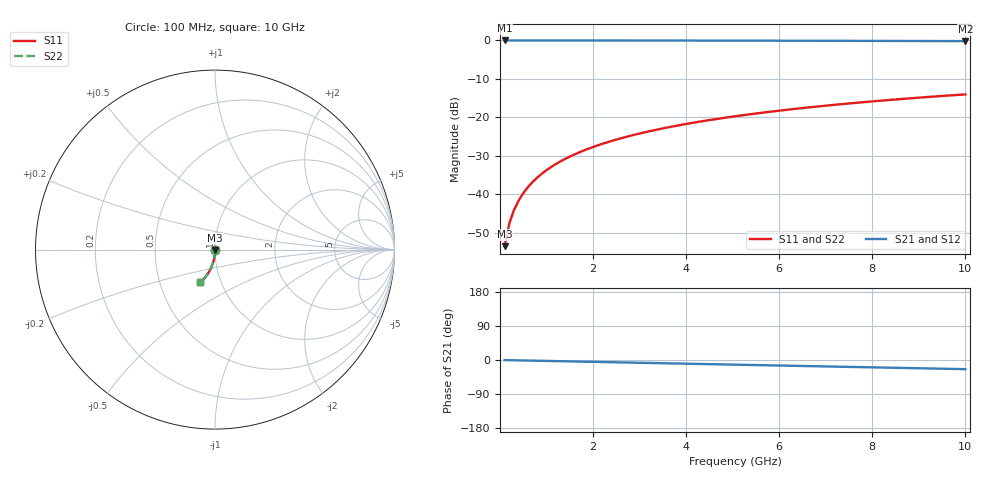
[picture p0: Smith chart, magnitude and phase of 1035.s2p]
# Hz S RI R 50.00
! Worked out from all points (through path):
!   100 points, 100 MHz to 10 GHz, reference 50 ohm
!   highest |S21| = 0.00 dB at 100 MHz (marker M1); lowest = -0.2 dB at 10 GHz (marker M2)
!   group delay of S21, straight-line fit = 6.72 ps
!   lowest |S11| = -53.5 dB at 100 MHz (marker M3), VSWR 1.00, Z = 50 - j0.206 ohm
!   |S11| at or under -10 dB: start of sweep to end of sweep
!   |S22| runs from -53.5 to -14.0 dB; largest |S21 - S12| = 0
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1e8  0.000468 -0.00206  0.9995 -0.00424  0.9995 -0.00424  0.000468 -0.00206
2e8  0.000443 -0.00412  0.9995 -0.00848  0.9995 -0.00848  0.000443 -0.00412
3e8  0.000398 -0.00618  0.9994 -0.0127  0.9994 -0.0127  0.000398 -0.00618
4e8  0.000336 -0.00824  0.9993 -0.017  0.9993 -0.017  0.000336 -0.00824
5e8  0.000256 -0.0103  0.9992 -0.0212  0.9992 -0.0212  0.000256 -0.0103
6e8  0.000159 -0.0124  0.9991 -0.0254  0.9991 -0.0254  0.000159 -0.0124
7e8  4.37e-05 -0.0144  0.9989 -0.0297  0.9989 -0.0297  4.37e-05 -0.0144
8e8  -8.89e-05 -0.0165  0.9988 -0.0339  0.9988 -0.0339  -8.89e-05 -0.0165
9e8  -0.000239 -0.0185  0.9986 -0.0381  0.9986 -0.0381  -0.000239 -0.0185
1.1e9  -0.000592 -0.0226  0.9981 -0.0466  0.9981 -0.0466  -0.000592 -0.0226
1.4e9  -0.00125 -0.0288  0.9973 -0.0593  0.9973 -0.0593  -0.00125 -0.0288
1.8e9  -0.00237 -0.0369  0.9958 -0.0762  0.9958 -0.0762  -0.00237 -0.0369
2.1e9  -0.0034 -0.043  0.9945 -0.0888  0.9945 -0.0888  -0.0034 -0.043
2.5e9  -0.00501 -0.0511  0.9925 -0.1057  0.9925 -0.1057  -0.00501 -0.0511
2.9e9  -0.00688 -0.0592  0.9901 -0.1224  0.9901 -0.1224  -0.00688 -0.0592
3.4e9  -0.00961 -0.0691  0.9866 -0.1433  0.9866 -0.1433  -0.00961 -0.0691
4.2e9  -0.0148 -0.0847  0.9799 -0.1764  0.9799 -0.1764  -0.0148 -0.0847
5.1e9  -0.022 -0.1018  0.9707 -0.2132  0.9707 -0.2132  -0.022 -0.1018
5.9e9  -0.0294 -0.1165  0.9612 -0.2454  0.9612 -0.2454  -0.0294 -0.1165
6.7e9  -0.0377 -0.1306  0.9504 -0.2771  0.9504 -0.2771  -0.0377 -0.1306
8.4e9  -0.0584 -0.1584  0.9234 -0.3424  0.9234 -0.3424  -0.0584 -0.1584
1e10  -0.0811 -0.1815  0.8934 -0.4008  0.8934 -0.4008  -0.0811 -0.1815
